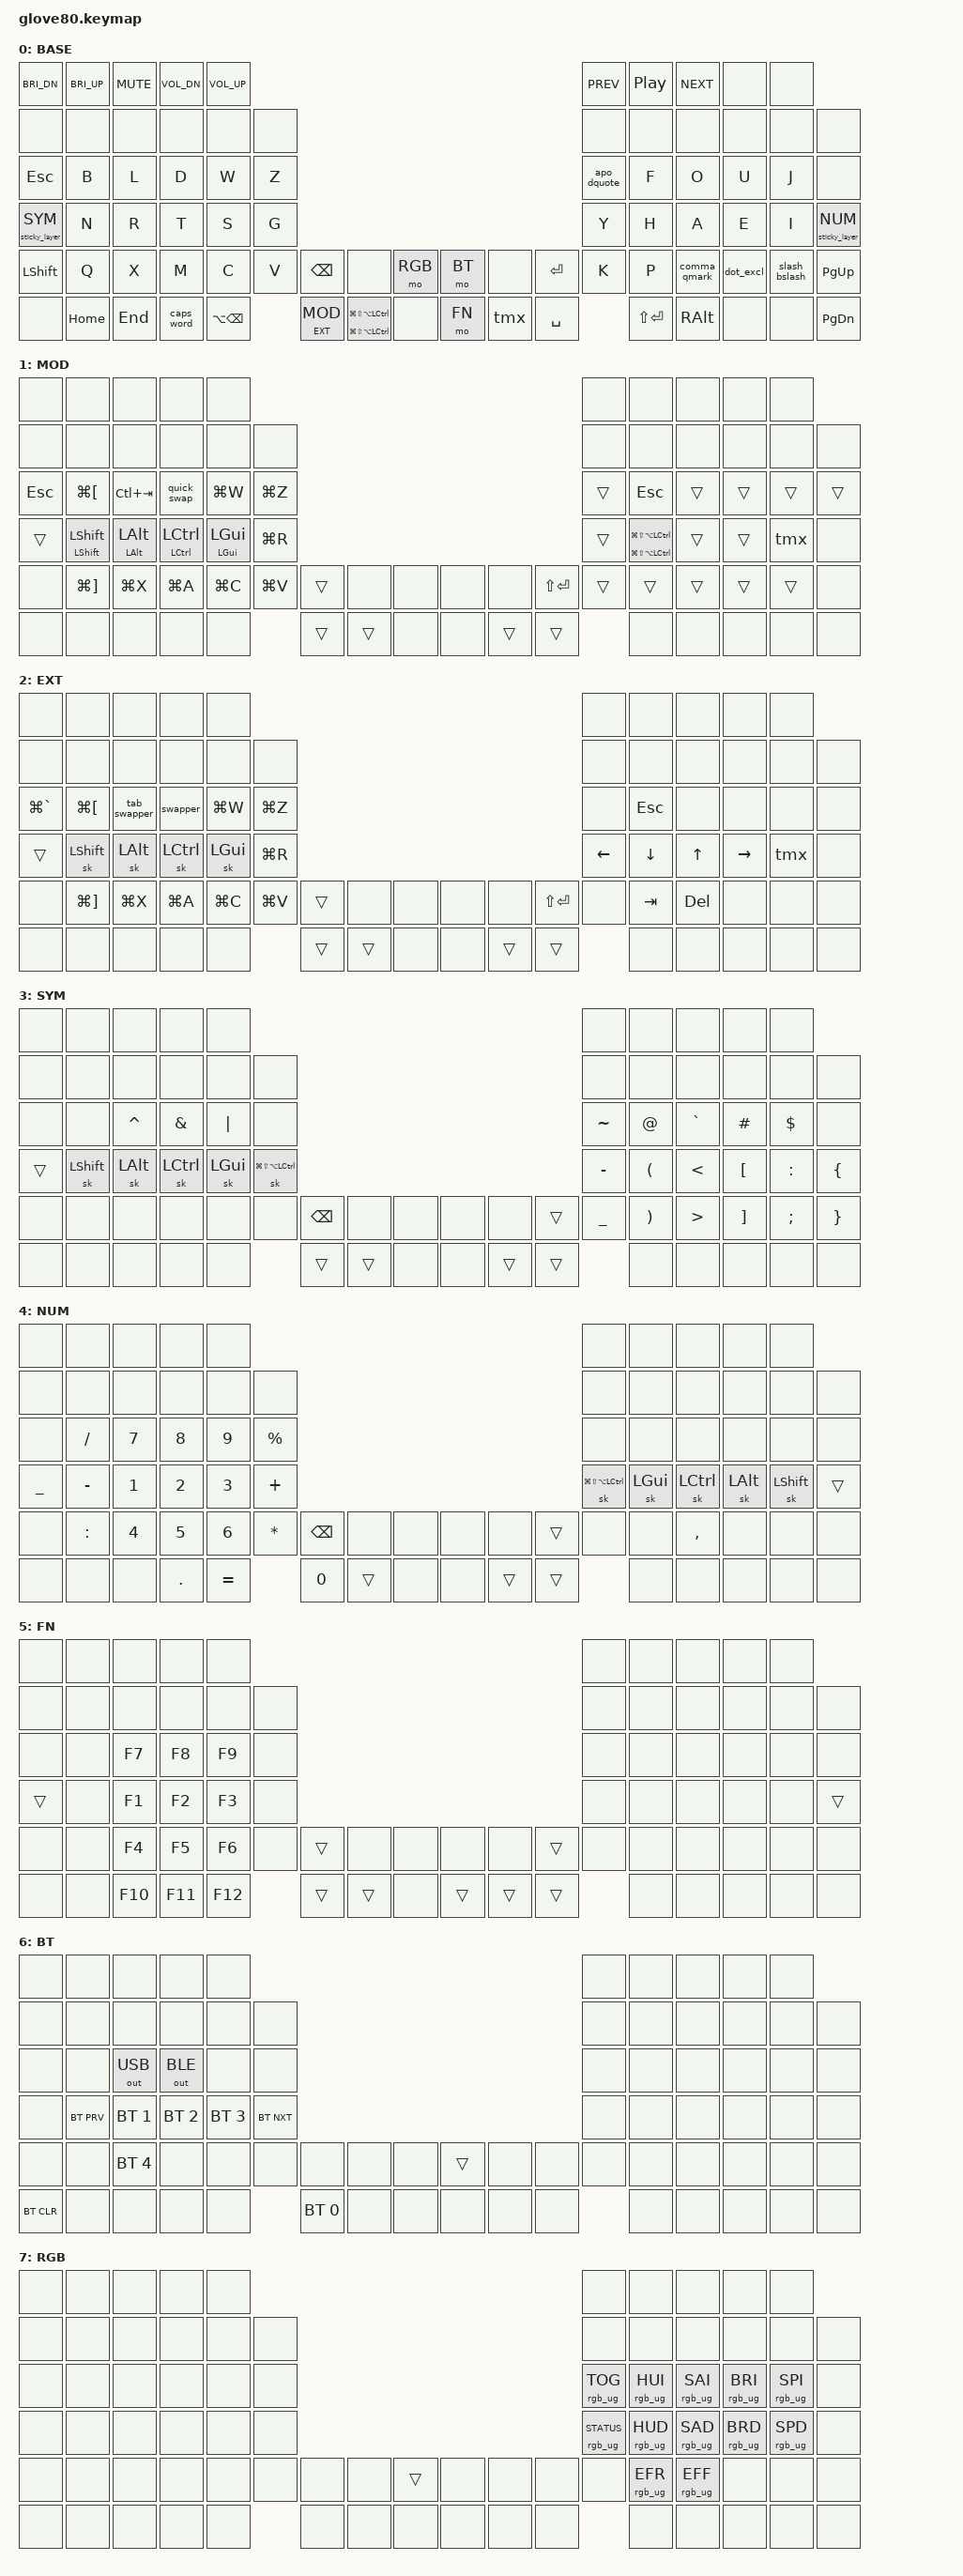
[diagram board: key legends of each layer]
// Glove80 Graphite layout.
// Alpha rows use the inner five columns of physical rows 3, 4, and 5.
// SYM/NUM use only the pinky columns beside the home row; Escape sits above SYM.
// Default Caps Word toggles below M, between End and Alt+Backspace.
// BASE sends Shift from the left bottom pinky. The other layers leave that key empty so the EXT switchers still ignore only position 35.
// BASE adds media controls on factory F1-F8 and Dictation (Right Alt) below P.
// BASE sends Alt+Backspace on factory left-side Right; Left toggles Caps Word.
// Backspace and Enter use the thumbs; EXT/MOD + Enter sends Shift+Enter.
// BASE sends Shift+Enter on the bottom row immediately right of Dictation.
// BASE keeps Home/End and Page Up/Down at their factory positions.
// NUM and FN use the extra left bottom row.
// All other additional finger keys and unused thumbs are disabled.
// Thumb rows, listed inner-to-outer on each hand:
//   Left inner-to-outer: Backspace / disabled / RGB above EXT/MOD / Hyper / disabled.
//   Right inner-to-outer: Enter / disabled / BT above Space / tmux / FN.
// Lower-middle Hyper/tmux duplicate the existing bindings; MOD/EXT/SYM/NUM/FN inherit them.
//   Other factory thumb positions remain disabled.
// NUM sends . and = on factory left-side Left/Right; 0 stays on EXT/MOD.

#include <behaviors.dtsi>
#include <dt-bindings/zmk/keys.h>
#include <dt-bindings/zmk/bt.h>
#include <dt-bindings/zmk/outputs.h>
#include <dt-bindings/zmk/rgb.h>

#define BASE 0
#define MOD  1
#define EXT  2
#define SYM  3
#define NUM  4
#define FN   5
#define BT   6
#define RGB  7

#define HYPER_MOD LG(LS(LA(LCTRL)))

/ {
    chosen {
        zmk,physical-layout = &physical_layout0;
    };
};

/ {
    behaviors {
        apo_dquote: apostrophe_doublequote {
            compatible = "zmk,behavior-mod-morph";
            #binding-cells = <0>;
            bindings = <&kp SQT>, <&kp DQT>;
            mods = <(MOD_LSFT|MOD_RSFT)>;
        };

        comma_qmark: comma_question_mark {
            compatible = "zmk,behavior-mod-morph";
            #binding-cells = <0>;
            bindings = <&kp COMMA>, <&kp QMARK>;
            mods = <(MOD_LSFT|MOD_RSFT)>;
        };

        dot_excl: dot_exclamation {
            compatible = "zmk,behavior-mod-morph";
            #binding-cells = <0>;
            bindings = <&kp DOT>, <&kp EXCL>;
            mods = <(MOD_LSFT|MOD_RSFT)>;
        };

        slash_bslash: slash_backslash {
            compatible = "zmk,behavior-mod-morph";
            #binding-cells = <0>;
            bindings = <&kp FSLH>, <&kp BSLH>;
            mods = <(MOD_LSFT|MOD_RSFT)>;
        };

        hm: hybrid_mod {
            compatible = "zmk,behavior-hold-tap";
            #binding-cells = <2>;
            flavor = "tap-preferred";
            tapping-term-ms = <300>;
            quick-tap-ms = <175>;
            bindings = <&kp>, <&sk>;
            retro-tap;
        };

        ext_mod: ext_or_mod {
            compatible = "zmk,behavior-hold-tap";
            #binding-cells = <2>;
            flavor = "balanced";
            tapping-term-ms = <200>;
            quick-tap-ms = <175>;
            bindings = <&mo>, <&sl>;
            retro-tap;
        };

        // Cmd-Tab app switcher: holds Cmd across taps, released on
        // interrupt (any other key or leaving EXT). Sticky Shift (pos 35)
        // is ignored so it can reverse-cycle without dropping Cmd.
        swapper: swapper {
            compatible = "zmk,behavior-tri-state";
            #binding-cells = <0>;
            bindings = <&kt LGUI>, <&kp TAB>, <&kt LGUI>;
            ignored-key-positions = <35>;
        };

        // Ctrl-Tab tab switcher: same tri-state as swapper but holds Ctrl,
        // so taps cycle tabs while the browser switcher stays up. Sticky
        // Shift (pos 35) is ignored so it can reverse-cycle (Ctrl+Shift+Tab).
        tab_swapper: tab_swapper {
            compatible = "zmk,behavior-tri-state";
            #binding-cells = <0>;
            bindings = <&kt LCTRL>, <&kp TAB>, <&kt LCTRL>;
            ignored-key-positions = <35>;
        };

        // SYM/NUM activate immediately, stay sticky when tapped, and behave
        // momentarily when a non-modifier is pressed while held. Modifier
        // presses do not consume the sticky layer, allowing e.g. tap NUM,
        // tap Ctrl+Shift, then tap 1.
        sticky_layer: sticky_or_held_layer {
            compatible = "zmk,behavior-sticky-key";
            #binding-cells = <1>;
            release-after-ms = <1000>;
            bindings = <&mo>;
            quick-release;
            ignore-modifiers;
        };
    };

    macros {
        // Instant switch to previous app: Cmd released right away so
        // the macOS switcher UI never shows (unlike &kp LG(TAB)).
        quick_swap: quick_app_swap {
            compatible = "zmk,behavior-macro";
            #binding-cells = <0>;
            bindings = <&macro_press &kp LGUI>,
                       <&macro_tap &kp TAB>,
                       <&macro_release &kp LGUI>;
        };

        tmx: tmux_prefix {
            compatible = "zmk,behavior-macro";
            #binding-cells = <0>;
            bindings = <&macro_press &kp LCTRL>,
                       <&macro_tap &kp SPACE>,
                       <&macro_release &kp LCTRL>;
        };
    };

    combos {
        compatible = "zmk,combos";

        // Word-left: H + A (Glove80 positions 41 + 42)
        combo_word_left {
            timeout-ms = <50>;
            key-positions = <41 42>;
            bindings = <&kp LA(LEFT)>;
            layers = <EXT>;
        };

        // Word-right: A + E (Glove80 positions 42 + 43)
        combo_word_right {
            timeout-ms = <50>;
            key-positions = <42 43>;
            bindings = <&kp LA(RIGHT)>;
            layers = <EXT>;
        };

    };

    keymap {
        compatible = "zmk,keymap";

        base_layer {
            label = "BASE";
            bindings = <
                // Factory F1-F8: brightness, volume, and playback controls
                &kp C_BRI_DN            &kp C_BRI_UP            &kp C_MUTE              &kp C_VOL_DN            &kp C_VOL_UP                                                                                                                                                                                        &kp C_PREV              &kp C_PP                &kp C_NEXT              &none                   &none
                // Number row (unused)
                &none                   &none                   &none                   &none                   &none                   &none                                                                                                                                                                       &none                   &none                   &none                   &none                   &none                   &none
                // Alpha top
                &kp ESC                 &kp B                   &kp L                   &kp D                   &kp W                   &kp Z                                                                                                                                                                       &apo_dquote             &kp F                   &kp O                   &kp U                   &kp J                   &none
                // Alpha home
                &sticky_layer SYM       &kp N                   &kp R                   &kp T                   &kp S                   &kp G                                                                                                                                                                       &kp Y                   &kp H                   &kp A                   &kp E                   &kp I                   &sticky_layer NUM
                // Alpha bottom + upper thumbs
                &kp LSHFT               &kp Q                   &kp X                   &kp M                   &kp C                   &kp V                   &kp BSPC                &none                   &mo RGB                 &mo BT                  &none                   &kp RET                 &kp K                   &kp P                   &comma_qmark            &dot_excl               &slash_bslash           &kp PG_UP
                // Extra bottom row: Home/End, Caps Word below M, Alt+Backspace, Shift+Enter below P, then Dictation + lower thumbs
                &none                   &kp HOME                &kp END                 &caps_word              &kp LA(BSPC)                                    &ext_mod EXT MOD        &hm HYPER_MOD HYPER_MOD &none                   &mo FN                  &tmx                    &kp SPACE                                       &kp LS(RET)             &kp RALT                &none                   &none                   &kp PG_DN
            >;
        };

        mod_layer {
            label = "MOD";
            bindings = <
                // Function row (unused)
                &none                   &none                   &none                   &none                   &none                                                                                                                                                                                               &none                   &none                   &none                   &none                   &none
                // Number row (unused)
                &none                   &none                   &none                   &none                   &none                   &none                                                                                                                                                                       &none                   &none                   &none                   &none                   &none                   &none
                // Alpha top
                &kp ESC                 &kp LG(LBKT)            &kp LC(TAB)             &quick_swap             &kp LG(W)               &kp LG(Z)                                                                                                                                                                   &trans                  &kp ESC                 &trans                  &trans                  &trans                  &trans
                // Alpha home
                &trans                  &hm LSHFT LSHFT         &hm LALT LALT           &hm LCTRL LCTRL         &hm LGUI LGUI           &kp LG(R)                                                                                                                                                                   &trans                  &hm HYPER_MOD HYPER_MOD &trans                  &trans                  &tmx                    &none
                // Alpha bottom + upper thumbs
                &none                   &kp LG(RBKT)            &kp LG(X)               &kp LG(A)               &kp LG(C)               &kp LG(V)               &trans                  &none                   &none                   &none                   &none                   &kp LS(RET)             &trans                  &trans                  &trans                  &trans                  &trans                  &none
                // Extra bottom row (unused) + lower thumbs
                &none                   &none                   &none                   &none                   &none                                           &trans                  &trans                  &none                   &none                   &trans                  &trans                                          &none                   &none                   &none                   &none                   &none
            >;
        };

        ext_layer {
            label = "EXT";
            bindings = <
                // Function row (unused)
                &none                   &none                   &none                   &none                   &none                                                                                                                                                                                               &none                   &none                   &none                   &none                   &none
                // Number row (unused)
                &none                   &none                   &none                   &none                   &none                   &none                                                                                                                                                                       &none                   &none                   &none                   &none                   &none                   &none
                // Alpha top
                &kp LG(GRAVE)           &kp LG(LBKT)            &tab_swapper            &swapper                &kp LG(W)               &kp LG(Z)                                                                                                                                                                   &none                   &kp ESC                 &none                   &none                   &none                   &none
                // Alpha home
                &trans                  &sk LSHFT               &sk LALT                &sk LCTRL               &sk LGUI                &kp LG(R)                                                                                                                                                                   &kp LEFT                &kp DOWN                &kp UP                  &kp RIGHT               &tmx                    &none
                // Alpha bottom + upper thumbs
                &none                   &kp LG(RBKT)            &kp LG(X)               &kp LG(A)               &kp LG(C)               &kp LG(V)               &trans                  &none                   &none                   &none                   &none                   &kp LS(RET)             &none                   &kp TAB                 &kp DEL                 &none                   &none                   &none
                // Extra bottom row (unused) + lower thumbs
                &none                   &none                   &none                   &none                   &none                                           &trans                  &trans                  &none                   &none                   &trans                  &trans                                          &none                   &none                   &none                   &none                   &none
            >;
        };

        sym_layer {
            label = "SYM";
            bindings = <
                // Function row (unused)
                &none                   &none                   &none                   &none                   &none                                                                                                                                                                                               &none                   &none                   &none                   &none                   &none
                // Number row (unused)
                &none                   &none                   &none                   &none                   &none                   &none                                                                                                                                                                       &none                   &none                   &none                   &none                   &none                   &none
                // Alpha top
                &none                   &none                   &kp CARET               &kp AMPS                &kp PIPE                &none                                                                                                                                                                       &kp TILDE               &kp AT                  &kp GRAVE               &kp HASH                &kp DLLR                &none
                // Alpha home
                &trans                  &sk LSHFT               &sk LALT                &sk LCTRL               &sk LGUI                &sk HYPER_MOD                                                                                                                                                               &kp MINUS               &kp LPAR                &kp LT                  &kp LBKT                &kp COLON               &kp LBRC
                // Alpha bottom + upper thumbs
                &none                   &none                   &none                   &none                   &none                   &none                   &kp BSPC                &none                   &none                   &none                   &none                   &trans                  &kp UNDER               &kp RPAR                &kp GT                  &kp RBKT                &kp SEMI                &kp RBRC
                // Extra bottom row (unused) + lower thumbs
                &none                   &none                   &none                   &none                   &none                                           &trans                  &trans                  &none                   &none                   &trans                  &trans                                          &none                   &none                   &none                   &none                   &none
            >;
        };

        num_layer {
            label = "NUM";
            bindings = <
                // Function row (unused)
                &none                   &none                   &none                   &none                   &none                                                                                                                                                                                               &none                   &none                   &none                   &none                   &none
                // Number row (unused)
                &none                   &none                   &none                   &none                   &none                   &none                                                                                                                                                                       &none                   &none                   &none                   &none                   &none                   &none
                // Alpha top
                &none                   &kp FSLH                &kp N7                  &kp N8                  &kp N9                  &kp PRCNT                                                                                                                                                                   &none                   &none                   &none                   &none                   &none                   &none
                // Alpha home
                &kp UNDER               &kp MINUS               &kp N1                  &kp N2                  &kp N3                  &kp PLUS                                                                                                                                                                    &sk HYPER_MOD           &sk LGUI                &sk LCTRL               &sk LALT                &sk LSHFT               &trans
                // Alpha bottom + upper thumbs
                &none                   &kp COLON               &kp N4                  &kp N5                  &kp N6                  &kp ASTRK               &kp BSPC                &none                   &none                   &none                   &none                   &trans                  &none                   &none                   &kp COMMA               &none                   &none                   &none
                // Extra bottom row: decimal/equal on factory Left/Right + lower thumbs
                &none                   &none                   &none                   &kp DOT                 &kp EQUAL                                       &kp N0                  &trans                  &none                   &none                   &trans                  &trans                                          &none                   &none                   &none                   &none                   &none
            >;
        };

        fn_layer {
            label = "FN";
            bindings = <
                // Function row (unused)
                &none                   &none                   &none                   &none                   &none                                                                                                                                                                                               &none                   &none                   &none                   &none                   &none
                // Number row (unused)
                &none                   &none                   &none                   &none                   &none                   &none                                                                                                                                                                       &none                   &none                   &none                   &none                   &none                   &none
                // Alpha top: F7-F9 match NUM 7-9
                &none                   &none                   &kp F7                  &kp F8                  &kp F9                  &none                                                                                                                                                                       &none                   &none                   &none                   &none                   &none                   &none
                // Alpha home: F1-F3 match NUM 1-3
                &trans                  &none                   &kp F1                  &kp F2                  &kp F3                  &none                                                                                                                                                                       &none                   &none                   &none                   &none                   &none                   &trans
                // Alpha bottom + upper thumbs: F4-F6 match NUM 4-6
                &none                   &none                   &kp F4                  &kp F5                  &kp F6                  &none                   &trans                  &none                   &none                   &none                   &none                   &trans                  &none                   &none                   &none                   &none                   &none                   &none
                // Extra bottom row: F10-F12 on factory End/Left/Right + lower thumbs
                &none                   &none                   &kp F10                 &kp F11                 &kp F12                                         &trans                  &trans                  &none                   &trans                  &trans                  &trans                                          &none                   &none                   &none                   &none                   &none
            >;
        };

        bt_layer {
            label = "BT";
            bindings = <
                // Function row (unused)
                &none                   &none                   &none                   &none                   &none                                                                                                                                                                                               &none                   &none                   &none                   &none                   &none
                // Number row (unused)
                &none                   &none                   &none                   &none                   &none                   &none                                                                                                                                                                       &none                   &none                   &none                   &none                   &none                   &none
                // Alpha top: output selection
                &none                   &none                   &out OUT_USB            &out OUT_BLE            &none                   &none                                                                                                                                                                       &none                   &none                   &none                   &none                   &none                   &none
                // Alpha home: previous/profile 1-3/next; profile positions match NUM
                &none                   &bt BT_PRV              &bt BT_SEL 1            &bt BT_SEL 2            &bt BT_SEL 3            &bt BT_NXT                                                                                                                                                                  &none                   &none                   &none                   &none                   &none                   &none
                // Alpha bottom + upper thumbs: profile 4 on NUM 4 and held BT trigger
                &none                   &none                   &bt BT_SEL 4            &none                   &none                   &none                   &none                   &none                   &none                   &trans                  &none                   &none                   &none                   &none                   &none                   &none                   &none                   &none
                // Extra bottom row: clear on factory MoErgo/Magic; profile 0 on NUM 0 thumb
                &bt BT_CLR              &none                   &none                   &none                   &none                                           &bt BT_SEL 0            &none                   &none                   &none                   &none                   &none                                           &none                   &none                   &none                   &none                   &none
            >;
        };

        rgb_layer {
            label = "RGB";
            bindings = <
                // Function row (unused)
                &none                   &none                   &none                   &none                   &none                                                                                                                                                                                               &none                   &none                   &none                   &none                   &none
                // Number row (unused)
                &none                   &none                   &none                   &none                   &none                   &none                                                                                                                                                                       &none                   &none                   &none                   &none                   &none                   &none
                // Alpha top: toggle and hue/saturation/brightness/speed increases
                &none                   &none                   &none                   &none                   &none                   &none                                                                                                                                                                       &rgb_ug RGB_TOG         &rgb_ug RGB_HUI         &rgb_ug RGB_SAI         &rgb_ug RGB_BRI         &rgb_ug RGB_SPI         &none
                // Alpha home: status and corresponding decreases
                &none                   &none                   &none                   &none                   &none                   &none                                                                                                                                                                       &rgb_ug RGB_STATUS      &rgb_ug RGB_HUD         &rgb_ug RGB_SAD         &rgb_ug RGB_BRD         &rgb_ug RGB_SPD         &none
                // Alpha bottom + upper thumbs: held RGB trigger and previous/next effects
                &none                   &none                   &none                   &none                   &none                   &none                   &none                   &none                   &trans                  &none                   &none                   &none                   &none                   &rgb_ug RGB_EFR         &rgb_ug RGB_EFF         &none                   &none                   &none
                // Extra bottom row (unused) + lower thumbs
                &none                   &none                   &none                   &none                   &none                                           &none                   &none                   &none                   &none                   &none                   &none                                           &none                   &none                   &none                   &none                   &none
            >;
        };
    };
};
